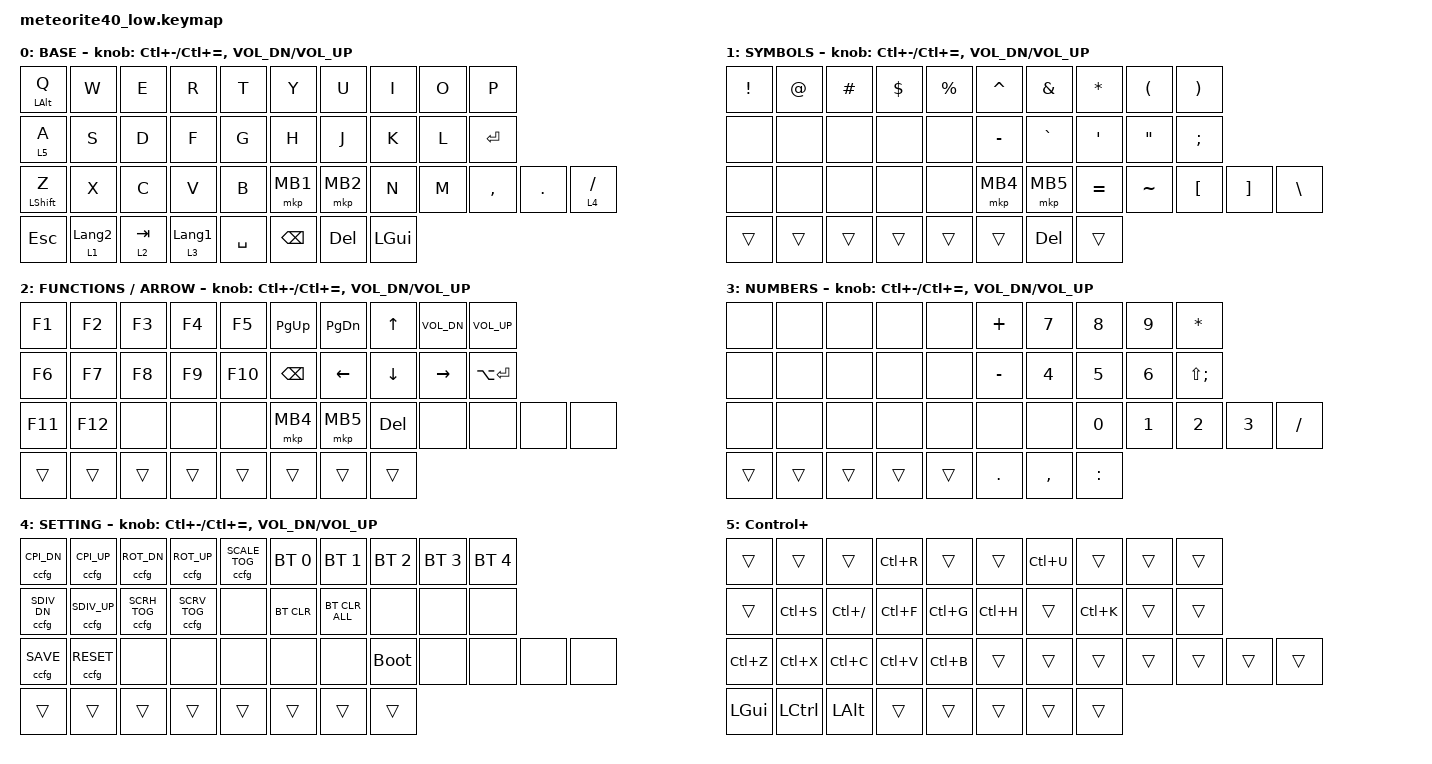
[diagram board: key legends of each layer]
#include <behaviors/custom_config.dtsi>
#include <dt-bindings/zmk/custom_config.h>

#define ZMK_POINTING_DEFAULT_SCRL_VAL 200

#include <behaviors.dtsi>
#include <dt-bindings/zmk/bt.h>
#include <dt-bindings/zmk/keys.h>
#include <dt-bindings/zmk/pointing.h>

&mt {
    flavor = "tap-preferred"; // change hold to tap
    tapping-term-ms = <180>;
    quick-tap-ms = <160>; // change 200 to 150
};

&lt {
    flavor = "tap-preferred";
    tapping-term-ms = <220>; // change 200 to 150
    quick-tap-ms = <180>; // change 200 to 150
};

/ {
    behaviors {
        mouse_scroll: mouse_wheel {
            compatible = "zmk,behavior-sensor-rotate-var";
            #sensor-binding-cells = <2>;
            bindings = <&msc>, <&msc>;

            tap-ms = <25>;
        };
    };

    combos {
        compatible = "zmk,combos";

        lang1 {
            bindings = <&kp LANG1>;
            key-positions = <12 13>; /* D + F */
            layers = <0>;
        };

        lang2 {
            bindings = <&kp LANG2>;
            key-positions = <16 17>; /* J + K */
            layers = <0>;
        };

        esc {
            bindings = <&kp ESCAPE>;
            key-positions = <20 21>; /* Z + X */
            layers = <0>;
        };

        tab {
            bindings = <&kp TAB>;
            key-positions = <0 1>; /* Q + W */
            layers = <0>;
        };

        home {
            bindings = <&kp HOME>;
            key-positions = <16 17>; /* J + K (on layer 2) */
            layers = <2>;
        };

        end {
            bindings = <&kp END>;
            key-positions = <18 19>; /* L + - (on layer 2) */
            layers = <2>;
        };

        ctrl_home {
            bindings = <&kp LC(HOME)>;
            key-positions = <16 18>; /* J + L (on layer 2) */
            layers = <2>;
        };

        ctrl_end {
            bindings = <&kp LC(END)>;
            key-positions = <17 19>; /* K + - (on layer 2) */
            layers = <2>;
        };
    };

    keymap {
        compatible = "zmk,keymap";
        layout = &LOW_PROFILE_DEFAULT;

        win_default_layer {
            display-name = "BASE";
            bindings = <
&mt LALT Q   &kp W             &kp E      &kp R             &kp T      &kp Y          &kp U       &kp I     &kp O  &kp P
&lt 5 A      &kp S             &kp D      &kp F             &kp G      &kp H          &kp J       &kp K     &kp L  &kp ENTER
&mt LSHFT Z  &kp X             &kp C      &kp V             &kp B      &mkp MB1       &mkp MB2    &kp N     &kp M  &kp COMMA  &kp DOT  &lt 4 SLASH
&kp ESCAPE   &lt 1 LANGUAGE_2  &lt 2 TAB  &lt 3 LANGUAGE_1  &kp SPACE  &kp BACKSPACE  &kp DELETE  &kp LGUI
            >;

            sensor-bindings =
                <&inc_dec_kp LC(MINUS) LC(EQUAL)>,
                // RE0: ctrl + - / +,,,,,,,,,,,
                <&inc_dec_kp C_VOL_DN C_VOL_UP>;

            // RE1: volume down/up
            //<&mouse_scroll SCRL_LEFT SCRL_RIGHT>,
            //<&mouse_scroll SCRL_UP SCRL_DOWN>;
        };

        layer_1 {
            display-name = "SYMBOLS";
            bindings = <
&kp EXCL  &kp AT  &kp HASH  &kp DLLR  &kp PRCNT  &kp CARET  &kp AMPS   &kp STAR   &kp LPAR   &kp RPAR
&none     &none   &none     &none     &none      &kp MINUS  &kp GRAVE  &kp SQT    &kp DQT    &kp SEMI
&none     &none   &none     &none     &none      &mkp MB4   &mkp MB5   &kp EQUAL  &kp TILDE  &kp LBKT  &kp RBKT  &kp BSLH
&trans    &trans  &trans    &trans    &trans     &trans     &kp DEL    &trans
            >;

            sensor-bindings =
                <&inc_dec_kp LC(MINUS) LC(EQUAL)>,
                // RE0: ctrl + - / +,,,,,,,,,,,
                <&inc_dec_kp C_VOL_DN C_VOL_UP>;

            // RE1: volume down/up
            //<&mouse_scroll SCRL_LEFT SCRL_RIGHT>,
            //<&mouse_scroll SCRL_UP SCRL_DOWN>;
        };

        layer_2 {
            display-name = "FUNCTIONS / ARROW";
            bindings = <
&kp F1   &kp F2   &kp F3  &kp F4  &kp F5   &kp PG_UP  &kp PG_DN  &kp UP    &kp C_VOL_DN  &kp C_VOL_UP
&kp F6   &kp F7   &kp F8  &kp F9  &kp F10  &kp BSPC   &kp LEFT   &kp DOWN  &kp RIGHT     &kp LA(ENTER)
&kp F11  &kp F12  &none   &none   &none    &mkp MB4   &mkp MB5   &kp DEL   &none         &none          &none  &none
&trans   &trans   &trans  &trans  &trans   &trans     &trans     &trans
            >;

            sensor-bindings =
                <&inc_dec_kp LC(MINUS) LC(EQUAL)>,
                // RE0: ctrl + - / +,,,,,,,,,,,
                <&inc_dec_kp C_VOL_DN C_VOL_UP>;

            // RE1: volume down/up
        };

        layer_3 {
            display-name = "NUMBERS";
            bindings = <
&none   &none   &none   &none   &none   &kp PLUS    &kp N7     &kp N8     &kp N9  &kp ASTRK
&none   &none   &none   &none   &none   &kp MINUS   &kp N4     &kp N5     &kp N6  &kp LS(SEMI)
&none   &none   &none   &none   &none   &none       &none      &kp N0     &kp N1  &kp N2        &kp N3  &kp SLASH
&trans  &trans  &trans  &trans  &trans  &kp PERIOD  &kp COMMA  &kp COLON
            >;

            sensor-bindings =
                <&inc_dec_kp LC(MINUS) LC(EQUAL)>,
                // RE0: ctrl + - / +,,,,,,,,,,,
                <&inc_dec_kp C_VOL_DN C_VOL_UP>;

            // RE1: volume down/up
        };

        layer_4 {
            display-name = "SETTING";
            bindings = <
&ccfg C_CPI_DN   &ccfg C_CPI_UP   &ccfg C_ROT_DN    &ccfg C_ROT_UP    &ccfg C_SCALE_TOG  &bt BT_SEL 0  &bt BT_SEL 1    &bt BT_SEL 2  &bt BT_SEL 3  &bt BT_SEL 4
&ccfg C_SDIV_DN  &ccfg C_SDIV_UP  &ccfg C_SCRH_TOG  &ccfg C_SCRV_TOG  &none              &bt BT_CLR    &bt BT_CLR_ALL  &none         &none         &none
&ccfg C_SAVE     &ccfg C_RESET    &none             &none             &none              &none         &none           &bootloader   &none         &none         &none  &none
&trans           &trans           &trans            &trans            &trans             &trans        &trans          &trans
            >;

            sensor-bindings =
                <&inc_dec_kp LC(MINUS) LC(EQUAL)>,
                // RE0: ctrl + - / +,,,,,,,,,,,
                <&inc_dec_kp C_VOL_DN C_VOL_UP>;

            // RE1: volume down/up
        };

        layer_5 {
            bindings = <
&trans     &trans     &trans         &kp LC(R)  &trans     &trans     &kp LC(U)  &trans     &trans  &trans
&trans     &kp LC(S)  &kp LC(SLASH)  &kp LC(F)  &kp LC(G)  &kp LC(H)  &trans     &kp LC(K)  &trans  &trans
&kp LC(Z)  &kp LC(X)  &kp LC(C)      &kp LC(V)  &kp LC(B)  &trans     &trans     &trans     &trans  &trans  &trans  &trans
&kp LGUI   &kp LCTRL  &kp LALT       &trans     &trans     &trans     &trans     &trans
            >;

            label = "Control+";
        };
    };
};
